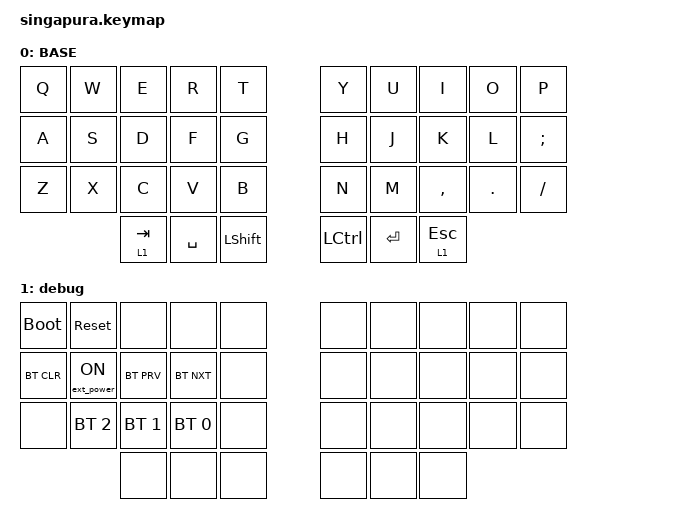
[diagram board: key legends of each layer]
// Copyright 2023 saikocat (@saikocat)
// SPDX-License-Identifier: MIT

#include <behaviors.dtsi>
#include <dt-bindings/zmk/keys.h>
#include <dt-bindings/zmk/bt.h>
#include <dt-bindings/zmk/ext_power.h>

&nice_view_spi {
    cs-gpios = <&pro_micro 10 GPIO_ACTIVE_HIGH>;
};

/ {
    combos {
        compatible = "zmk,combos";
        combo_esc {
            timeout-ms = <50>;
            key-positions = <0 1>;
            bindings = <&kp ESC>;
        };
    };

    keymap {
        compatible = "zmk,keymap";

        layer_base {
            label = "BASE";
            bindings = <
                   &kp Q &kp W &kp E &kp R &kp T     &kp Y &kp U  &kp I     &kp O   &kp P
                   &kp A &kp S &kp D &kp F &kp G     &kp H &kp J  &kp K     &kp L   &kp SEMI
                   &kp Z &kp X &kp C &kp V &kp B     &kp N &kp M  &kp COMMA &kp DOT &kp FSLH
                   &lt 1 TAB &kp SPACE &kp LSHFT     &kp LCTRL &kp RET &lt 1 ESC
            >;
        };

        layer_debug {
            label = "debug";
            bindings = <
                    &bootloader   &sys_reset         &none          &none          &none       &none &none &none &none &none
                    &bt BT_CLR    &ext_power EP_ON   &bt BT_PRV     &bt BT_NXT     &none       &none &none &none &none &none
                    &none         &bt BT_SEL 2       &bt BT_SEL 1   &bt BT_SEL 0   &none       &none &none &none &none &none
                                                     &none          &none          &none       &none &none &none
            >;
        };

    };
};

// vim: ft=dts et
